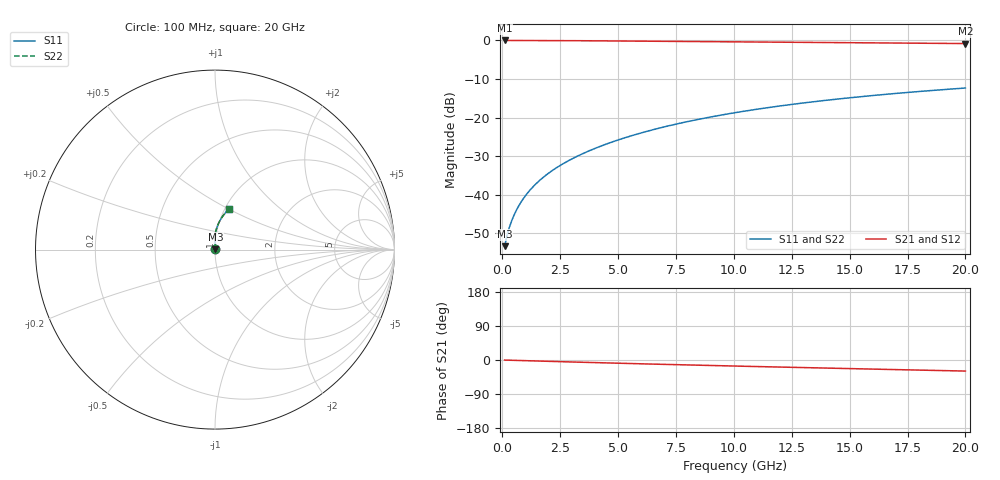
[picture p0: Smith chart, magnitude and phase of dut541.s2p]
! Touchstone file exported from HFSS 2024.1.0
!  File:  C:/UserFiles/LocalFiles/RDL_TSV_Batchsim/temp_RDL_top_541_1779680565.aedt
!  Generated:  11:44:56 AM May 25, 2026
!  Design:  RDL_top
!  Project:  temp_RDL_top_541_1779680565
!  Setup:  Setup1
!  Solution:  Sweep
! Variables:
!  dtsv = 10.80580581um
!  hbump = 3um
!  htsv = 70.27um
!  ldown = 100um
!  lrdl = 433.35um
!  p = 40
!  p1 = 46.56um
!  rhole = 1um
!  t = 450um
!  tdown = 3.915915916um
!  trdl = 3.68um
!  wdown = 15.38538539um
!  wrdl = 26.04um
# GHz S MA R 50.000000
! Terminal data exported
! Port[1] = Box2_T1
! Port[2] = Box2_T2
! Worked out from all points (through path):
!   200 points, 100 MHz to 20 GHz, reference 50 ohm
!   highest |S21| = -0.02 dB at 100 MHz (marker M1); lowest = -0.8 dB at 20 GHz (marker M2)
!   group delay of S21, straight-line fit = 4 ps
!   lowest |S11| = -53.4 dB at 100 MHz (marker M3), VSWR 1.00, Z = 50.2 + j0.112 ohm
!   |S11| at or under -10 dB: start of sweep to end of sweep
!   |S22| runs from -53.4 to -12.4 dB; largest |S21 - S12| = 3.4e-15
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0.1  0.00215 31.2  0.9982 -0.2  0.9982 -0.2  0.00215 31.2
! Gamma 0 0 0 0
! Port Impedance 50 0 50 0
0.2  0.002906 47.5  0.998 -0.4  0.998 -0.4  0.002906 47.5
0.3  0.003723 56.1  0.9978 -0.6  0.9978 -0.6  0.003723 56.1
0.4  0.004543 61.8  0.9977 -0.7  0.9977 -0.7  0.004543 61.8
0.5  0.00537 65.9  0.9975 -0.9  0.9975 -0.9  0.00537 65.9
0.6  0.00621 69.2  0.9974 -1.1  0.9974 -1.1  0.00621 69.2
0.8  0.007929 73.9  0.9972 -1.4  0.9972 -1.4  0.007929 73.9
1  0.009695 77.2  0.9969 -1.8  0.9969 -1.8  0.009695 77.2
1.2  0.0115 79.7  0.9966 -2.1  0.9966 -2.1  0.0115 79.7
1.7  0.01614 83.7  0.9955 -3.0  0.9955 -3.0  0.01614 83.6
2.2  0.02096 86.1  0.9942 -3.9  0.9942 -3.9  0.02096 86.1
2.8  0.02697 88.0  0.9923 -4.9  0.9923 -4.9  0.02697 88.0
3.5  0.03431 89.3  0.9897 -6.1  0.9897 -6.1  0.0343 89.3
4.2  0.04199 90.1  0.9866 -7.2  0.9866 -7.2  0.04199 90.1
5  0.05119 90.4  0.9829 -8.5  0.9829 -8.5  0.05118 90.4
6.8  0.0732 89.8  0.9738 -11.3  0.9738 -11.3  0.07319 89.8
8.4  0.09382 88.2  0.9655 -13.6  0.9655 -13.6  0.09381 88.2
10.1  0.1162 85.9  0.9568 -16.1  0.9568 -16.1  0.1162 85.9
11.7  0.1374 83.5  0.9489 -18.3  0.9489 -18.3  0.1374 83.5
13.4  0.1597 80.9  0.9407 -20.6  0.9407 -20.6  0.1597 80.9
16.7  0.2017 75.7  0.9252 -25.0  0.9252 -25.0  0.2016 75.6
20  0.2413 70.6  0.91 -29.2  0.91 -29.2  0.2413 70.6
